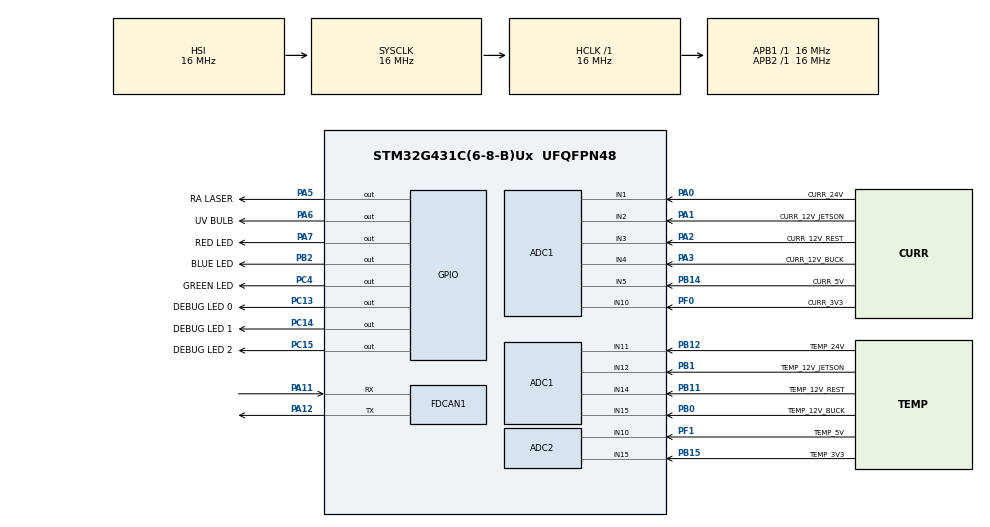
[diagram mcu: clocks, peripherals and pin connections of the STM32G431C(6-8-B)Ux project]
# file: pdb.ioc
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ADC1.Channel-0\#ChannelRegularConversion=ADC_CHANNEL_1
ADC1.Channel-1\#ChannelRegularConversion=ADC_CHANNEL_2
ADC1.Channel-2\#ChannelRegularConversion=ADC_CHANNEL_3
ADC1.Channel-3\#ChannelRegularConversion=ADC_CHANNEL_4
ADC1.Channel-4\#ChannelRegularConversion=ADC_CHANNEL_5
ADC1.Channel-5\#ChannelRegularConversion=ADC_CHANNEL_10
ADC1.Channel-6\#ChannelRegularConversion=ADC_CHANNEL_11
ADC1.Channel-7\#ChannelRegularConversion=ADC_CHANNEL_12
ADC1.Channel-8\#ChannelRegularConversion=ADC_CHANNEL_14
ADC1.Channel-9\#ChannelRegularConversion=ADC_CHANNEL_15
ADC1.NbrOfConversion=10
ADC1.NbrOfConversionFlag=1
ADC1.OffsetNumber-0\#ChannelRegularConversion=ADC_OFFSET_NONE
ADC1.OffsetNumber-1\#ChannelRegularConversion=ADC_OFFSET_NONE
ADC1.OffsetNumber-2\#ChannelRegularConversion=ADC_OFFSET_NONE
ADC1.OffsetNumber-3\#ChannelRegularConversion=ADC_OFFSET_NONE
ADC1.OffsetNumber-4\#ChannelRegularConversion=ADC_OFFSET_NONE
ADC1.OffsetNumber-5\#ChannelRegularConversion=ADC_OFFSET_NONE
ADC1.OffsetNumber-6\#ChannelRegularConversion=ADC_OFFSET_NONE
ADC1.OffsetNumber-7\#ChannelRegularConversion=ADC_OFFSET_NONE
ADC1.OffsetNumber-8\#ChannelRegularConversion=ADC_OFFSET_NONE
ADC1.OffsetNumber-9\#ChannelRegularConversion=ADC_OFFSET_NONE
ADC1.Rank-0\#ChannelRegularConversion=1
ADC1.Rank-1\#ChannelRegularConversion=2
ADC1.Rank-2\#ChannelRegularConversion=3
ADC1.Rank-3\#ChannelRegularConversion=4
ADC1.Rank-4\#ChannelRegularConversion=5
ADC1.Rank-5\#ChannelRegularConversion=6
ADC1.Rank-6\#ChannelRegularConversion=7
ADC1.Rank-7\#ChannelRegularConversion=8
ADC1.Rank-8\#ChannelRegularConversion=9
ADC1.Rank-9\#ChannelRegularConversion=10
ADC1.SamplingTime-0\#ChannelRegularConversion=ADC_SAMPLETIME_2CYCLES_5
ADC1.SamplingTime-1\#ChannelRegularConversion=ADC_SAMPLETIME_2CYCLES_5
ADC1.SamplingTime-2\#ChannelRegularConversion=ADC_SAMPLETIME_2CYCLES_5
ADC1.SamplingTime-3\#ChannelRegularConversion=ADC_SAMPLETIME_2CYCLES_5
ADC1.SamplingTime-4\#ChannelRegularConversion=ADC_SAMPLETIME_2CYCLES_5
ADC1.SamplingTime-5\#ChannelRegularConversion=ADC_SAMPLETIME_2CYCLES_5
ADC1.SamplingTime-6\#ChannelRegularConversion=ADC_SAMPLETIME_2CYCLES_5
ADC1.SamplingTime-7\#ChannelRegularConversion=ADC_SAMPLETIME_2CYCLES_5
ADC1.SamplingTime-8\#ChannelRegularConversion=ADC_SAMPLETIME_2CYCLES_5
ADC1.SamplingTime-9\#ChannelRegularConversion=ADC_SAMPLETIME_2CYCLES_5
ADC1.master=1
ADC2.Channel-0\#ChannelRegularConversion=ADC_CHANNEL_10
ADC2.NbrOfConversionFlag=1
ADC2.OffsetNumber-0\#ChannelRegularConversion=ADC_OFFSET_NONE
ADC2.Rank-0\#ChannelRegularConversion=1
ADC2.SamplingTime-0\#ChannelRegularConversion=ADC_SAMPLETIME_2CYCLES_5
FDCAN1.CalculateBaudRateNominal=500000
FDCAN1.CalculateTimeBitNominal=2000
FDCAN1.CalculateTimeQuantumNominal=62.5
FDCAN1.DataSyncJumpWidth=7
FDCAN1.DataTimeSeg1=8
FDCAN1.DataTimeSeg2=7
FDCAN1.FrameFormat=FDCAN_FRAME_FD_BRS
FDCAN1.NominalPrescaler=1
FDCAN1.NominalSyncJumpWidth=16
FDCAN1.NominalTimeSeg1=26
FDCAN1.NominalTimeSeg2=5
FDCAN1.TransmitPause=ENABLE
FREERTOS.Tasks01=defaultTask,24,128,StartDefaultTask,Default,NULL,Dynamic,NULL,NULL
Mcu.Family=STM32G4
Mcu.Name=STM32G431C(6-8-B)Ux
Mcu.Package=UFQFPN48
NVIC.FDCAN1_IT0_IRQn=true\:5\:0\:false\:false\:true\:true\:true\:true\:true
NVIC.FDCAN1_IT1_IRQn=true\:5\:0\:false\:false\:true\:true\:true\:true\:true
NVIC.PriorityGroup=NVIC_PRIORITYGROUP_4
PA0.GPIO_Label=CURR_24V
PA0.Mode=IN1-Single-Ended
PA0.Signal=ADC1_IN1
PA1.GPIO_Label=CURR_12V_JETSON
PA1.Mode=IN2-Single-Ended
PA1.Signal=ADC1_IN2
PA11.Mode=FDCAN_Activate
PA11.Signal=FDCAN1_RX
PA12.Mode=FDCAN_Activate
PA12.Signal=FDCAN1_TX
PA13.Mode=Serial_Wire
PA13.Signal=SYS_JTMS-SWDIO
PA14.Mode=Serial_Wire
PA14.Signal=SYS_JTCK-SWCLK
PA2.GPIO_Label=CURR_12V_REST
PA2.Mode=IN3-Single-Ended
PA2.Signal=ADC1_IN3
PA3.GPIO_Label=CURR_12V_BUCK
PA3.Mode=IN4-Single-Ended
PA3.Signal=ADC1_IN4
PA5.GPIO_Label=RA LASER
PA5.Signal=GPIO_Output
PA6.GPIO_Label=UV BULB
PA6.Signal=GPIO_Output
PA7.GPIO_Label=RED LED
PA7.Signal=GPIO_Output
PB0.GPIO_Label=TEMP_12V_BUCK
PB0.Mode=IN15-Single-Ended
PB0.Signal=ADC1_IN15
PB1.GPIO_Label=TEMP_12V_JETSON
PB1.Mode=IN12-Single-Ended
PB1.Signal=ADC1_IN12
PB11.GPIO_Label=TEMP_12V_REST
PB11.Mode=IN14-Single-Ended
PB11.Signal=ADC1_IN14
PB12.GPIO_Label=TEMP_24V
PB12.Mode=IN11-Single-Ended
PB12.Signal=ADC1_IN11
PB14.GPIO_Label=CURR_5V
PB14.Mode=IN5-Single-Ended
PB14.Signal=ADC1_IN5
PB15.GPIO_Label=TEMP_3V3
PB15.Mode=IN15-Single-Ended
PB15.Signal=ADC2_IN15
PB2.GPIO_Label=BLUE LED
PB2.Signal=GPIO_Output
PC13.GPIO_Label=DEBUG LED 0
PC13.Signal=GPIO_Output
PC14-OSC32_IN.GPIO_Label=DEBUG LED 1
PC14-OSC32_IN.Signal=GPIO_Output
PC15-OSC32_OUT.GPIO_Label=DEBUG LED 2
PC15-OSC32_OUT.Signal=GPIO_Output
PC4.GPIO_Label=GREEN LED
PC4.Signal=GPIO_Output
PF0-OSC_IN.GPIO_Label=CURR_3V3
PF0-OSC_IN.Mode=IN10-Single-Ended
PF0-OSC_IN.Signal=ADC1_IN10
PF1-OSC_OUT.GPIO_Label=TEMP_5V
PF1-OSC_OUT.Mode=IN10-Single-Ended
PF1-OSC_OUT.Signal=ADC2_IN10
ProjectManager.HeapSize=0x200
ProjectManager.StackSize=0x400
ProjectManager.TargetToolchain=STM32CubeIDE
RCC.AHBFreq_Value=16000000
RCC.APB1Freq_Value=16000000
RCC.APB1TimFreq_Value=16000000
RCC.APB2Freq_Value=16000000
RCC.APB2TimFreq_Value=16000000
RCC.CortexFreq_Value=16000000
RCC.EXTERNAL_CLOCK_VALUE=12288000
RCC.HCLKFreq_Value=16000000
RCC.HSE_VALUE=8000000
RCC.HSI48_VALUE=48000000
RCC.HSI_VALUE=16000000
RCC.LSE_VALUE=32768
RCC.SYSCLKFreq_VALUE=16000000
RCC.USBFreq_Value=64000000
RCC.VCOOutputFreq_Value=128000000
VP_FREERTOS_VS_CMSIS_V2.Mode=CMSIS_V2
board=custom

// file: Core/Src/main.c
/* USER CODE BEGIN Header */
/**
  ******************************************************************************
  * @file           : main.c
  * @brief          : Main program body
  ******************************************************************************
  * @attention
  *
  * Copyright (c) 2023 STMicroelectronics.
  * All rights reserved.
  *
  * This software is licensed under terms that can be found in the LICENSE file
  * in the root directory of this software component.
  * If no LICENSE file comes with this software, it is provided AS-IS.
  *
  ******************************************************************************
  */
/* USER CODE END Header */
#include "main.h"
#include "cmsis_os.h"

/* USER CODE BEGIN PD */

#define NUM_CHANNELS 12
#define NUM_CURRENT_SENSORS 6
#define NUM_TEMP_SENSORS 6

#define PDB_CAN_ID 0x32

/* USER CODE END PD */

ADC_HandleTypeDef hadc1;
ADC_HandleTypeDef hadc2;

FDCAN_HandleTypeDef hfdcan1;

/* Definitions for defaultTask */
osThreadId_t defaultTaskHandle;
const osThreadAttr_t defaultTask_attributes = {
  .name = "defaultTask",
  .priority = (osPriority_t) osPriorityNormal,
  .stack_size = 128 * 4
};

void SystemClock_Config(void);
static void MX_GPIO_Init(void);
static void MX_ADC1_Init(void);
static void MX_FDCAN1_Init(void);
static void MX_ADC2_Init(void);
void StartDefaultTask(void *argument);

/* USER CODE BEGIN PFP */
void SendCurrentTemperature(void *argument);
void ReceiveMessages(void *argument);
void UpdateLEDState(void *argument);

/* USER CODE END PFP */

int main(void)
{

  /* MCU Configuration--------------------------------------------------------*/

  /* Reset of all peripherals, Initializes the Flash interface and the Systick. */
  HAL_Init();

  /* Configure the system clock */
  SystemClock_Config();

  /* Initialize all configured peripherals */
  MX_GPIO_Init();
  MX_ADC1_Init();
  MX_FDCAN1_Init();
  MX_ADC2_Init();
  /* USER CODE BEGIN 2 */

  // 10 channels: 5 for current, 5 for temperature
  // Channels 0-4: CURR 0-4
  // Channels 5-9: TEMP 0-4

  init();

  /* USER CODE END 2 */

  /* Init scheduler */
  osKernelInitialize();

  /* USER CODE BEGIN RTOS_MUTEX */
  can_tx_mutex = osMutexNew(NULL); // default attr. for now
  /* USER CODE END RTOS_MUTEX */

  /* Create the thread(s) */
  /* creation of defaultTask */
  defaultTaskHandle = osThreadNew(StartDefaultTask, NULL, &defaultTask_attributes);

  /* USER CODE BEGIN RTOS_THREADS */

  defaultTaskHandle = osThreadNew(ReceiveMessages, NULL, &defaultTask_attributes);
  defaultTaskHandle = osThreadNew(SendCurrentTemperature, NULL, &defaultTask_attributes);
  defaultTaskHandle = osThreadNew(UpdateLEDState, NULL, &defaultTask_attributes);
  /* add threads, ... */
  /* USER CODE END RTOS_THREADS */

  /* Start scheduler */
  osKernelStart();
  /* We should never get here as control is now taken by the scheduler */
  /* Infinite loop */
  while (1)
  {

  }
}

void SystemClock_Config(void)
{
  RCC_OscInitTypeDef RCC_OscInitStruct = {0};
  RCC_ClkInitTypeDef RCC_ClkInitStruct = {0};

  /** Configure the main internal regulator output voltage
  */
  HAL_PWREx_ControlVoltageScaling(PWR_REGULATOR_VOLTAGE_SCALE1);

  /** Initializes the RCC Oscillators according to the specified parameters
  * in the RCC_OscInitTypeDef structure.
  */
  RCC_OscInitStruct.OscillatorType = RCC_OSCILLATORTYPE_HSI;
  RCC_OscInitStruct.HSIState = RCC_HSI_ON;
  RCC_OscInitStruct.HSICalibrationValue = RCC_HSICALIBRATION_DEFAULT;
  RCC_OscInitStruct.PLL.PLLState = RCC_PLL_NONE;
  if (HAL_RCC_OscConfig(&RCC_OscInitStruct) != HAL_OK)
  {
    Error_Handler();
  }

  /** Initializes the CPU, AHB and APB buses clocks
  */
  RCC_ClkInitStruct.ClockType = RCC_CLOCKTYPE_HCLK|RCC_CLOCKTYPE_SYSCLK
                              |RCC_CLOCKTYPE_PCLK1|RCC_CLOCKTYPE_PCLK2;
  RCC_ClkInitStruct.SYSCLKSource = RCC_SYSCLKSOURCE_HSI;
  RCC_ClkInitStruct.AHBCLKDivider = RCC_SYSCLK_DIV1;
  RCC_ClkInitStruct.APB1CLKDivider = RCC_HCLK_DIV1;
  RCC_ClkInitStruct.APB2CLKDivider = RCC_HCLK_DIV1;

  if (HAL_RCC_ClockConfig(&RCC_ClkInitStruct, FLASH_LATENCY_0) != HAL_OK)
  {
    Error_Handler();
  }
}

static void MX_ADC1_Init(void)
{

  ADC_MultiModeTypeDef multimode = {0};
  ADC_ChannelConfTypeDef sConfig = {0};

  /** Common config
  */
  hadc1.Instance = ADC1;
  hadc1.Init.ClockPrescaler = ADC_CLOCK_SYNC_PCLK_DIV2;
  hadc1.Init.Resolution = ADC_RESOLUTION_12B;
  hadc1.Init.DataAlign = ADC_DATAALIGN_RIGHT;
  hadc1.Init.GainCompensation = 0;
  hadc1.Init.ScanConvMode = ADC_SCAN_ENABLE;
  hadc1.Init.EOCSelection = ADC_EOC_SINGLE_CONV;
  hadc1.Init.LowPowerAutoWait = DISABLE;
  hadc1.Init.ContinuousConvMode = DISABLE;
  hadc1.Init.NbrOfConversion = 10;
  hadc1.Init.DiscontinuousConvMode = DISABLE;
  hadc1.Init.ExternalTrigConv = ADC_SOFTWARE_START;
  hadc1.Init.ExternalTrigConvEdge = ADC_EXTERNALTRIGCONVEDGE_NONE;
  hadc1.Init.DMAContinuousRequests = DISABLE;
  hadc1.Init.Overrun = ADC_OVR_DATA_PRESERVED;
  hadc1.Init.OversamplingMode = DISABLE;
  if (HAL_ADC_Init(&hadc1) != HAL_OK)
  {
    Error_Handler();
  }

  /** Configure the ADC multi-mode
  */
  multimode.Mode = ADC_MODE_INDEPENDENT;
  if (HAL_ADCEx_MultiModeConfigChannel(&hadc1, &multimode) != HAL_OK)
  {
    Error_Handler();
  }

  /** Configure Regular Channel
  */
  sConfig.Channel = ADC_CHANNEL_1;
  sConfig.Rank = ADC_REGULAR_RANK_1;
  sConfig.SamplingTime = ADC_SAMPLETIME_2CYCLES_5;
  sConfig.SingleDiff = ADC_SINGLE_ENDED;
  sConfig.OffsetNumber = ADC_OFFSET_NONE;
  sConfig.Offset = 0;
  if (HAL_ADC_ConfigChannel(&hadc1, &sConfig) != HAL_OK)
  {
    Error_Handler();
  }

  /** Configure Regular Channel
  */
  sConfig.Channel = ADC_CHANNEL_2;
  sConfig.Rank = ADC_REGULAR_RANK_2;
  if (HAL_ADC_ConfigChannel(&hadc1, &sConfig) != HAL_OK)
  {
    Error_Handler();
  }

  /** Configure Regular Channel
  */
  sConfig.Channel = ADC_CHANNEL_3;
  sConfig.Rank = ADC_REGULAR_RANK_3;
  if (HAL_ADC_ConfigChannel(&hadc1, &sConfig) != HAL_OK)
  {
    Error_Handler();
  }

  /** Configure Regular Channel
  */
  sConfig.Channel = ADC_CHANNEL_4;
  sConfig.Rank = ADC_REGULAR_RANK_4;
  if (HAL_ADC_ConfigChannel(&hadc1, &sConfig) != HAL_OK)
  {
    Error_Handler();
  }

  /** Configure Regular Channel
  */
  sConfig.Channel = ADC_CHANNEL_5;
  sConfig.Rank = ADC_REGULAR_RANK_5;
  if (HAL_ADC_ConfigChannel(&hadc1, &sConfig) != HAL_OK)
  {
    Error_Handler();
  }

  /** Configure Regular Channel
  */
  sConfig.Channel = ADC_CHANNEL_10;
  sConfig.Rank = ADC_REGULAR_RANK_6;
  if (HAL_ADC_ConfigChannel(&hadc1, &sConfig) != HAL_OK)
  {
    Error_Handler();
  }

  /** Configure Regular Channel
  */
  sConfig.Channel = ADC_CHANNEL_11;
  sConfig.Rank = ADC_REGULAR_RANK_7;
  if (HAL_ADC_ConfigChannel(&hadc1, &sConfig) != HAL_OK)
  {
    Error_Handler();
  }

  /** Configure Regular Channel
  */
  sConfig.Channel = ADC_CHANNEL_12;
  sConfig.Rank = ADC_REGULAR_RANK_8;
  if (HAL_ADC_ConfigChannel(&hadc1, &sConfig) != HAL_OK)
  {
    Error_Handler();
  }

  /** Configure Regular Channel
  */
  sConfig.Channel = ADC_CHANNEL_14;
  sConfig.Rank = ADC_REGULAR_RANK_9;
  if (HAL_ADC_ConfigChannel(&hadc1, &sConfig) != HAL_OK)
  {
    Error_Handler();
  }

  /** Configure Regular Channel
  */
  sConfig.Channel = ADC_CHANNEL_15;
  sConfig.Rank = ADC_REGULAR_RANK_10;
  if (HAL_ADC_ConfigChannel(&hadc1, &sConfig) != HAL_OK)
  {
    Error_Handler();
  }

}

static void MX_ADC2_Init(void)
{

  ADC_ChannelConfTypeDef sConfig = {0};

  /** Common config
  */
  hadc2.Instance = ADC2;
  hadc2.Init.ClockPrescaler = ADC_CLOCK_SYNC_PCLK_DIV2;
  hadc2.Init.Resolution = ADC_RESOLUTION_12B;
  hadc2.Init.DataAlign = ADC_DATAALIGN_RIGHT;
  hadc2.Init.GainCompensation = 0;
  hadc2.Init.ScanConvMode = ADC_SCAN_DISABLE;
  hadc2.Init.EOCSelection = ADC_EOC_SINGLE_CONV;
  hadc2.Init.LowPowerAutoWait = DISABLE;
  hadc2.Init.ContinuousConvMode = DISABLE;
  hadc2.Init.NbrOfConversion = 1;
  hadc2.Init.DiscontinuousConvMode = DISABLE;
  hadc2.Init.ExternalTrigConv = ADC_SOFTWARE_START;
  hadc2.Init.ExternalTrigConvEdge = ADC_EXTERNALTRIGCONVEDGE_NONE;
  hadc2.Init.DMAContinuousRequests = DISABLE;
  hadc2.Init.Overrun = ADC_OVR_DATA_PRESERVED;
  hadc2.Init.OversamplingMode = DISABLE;
  if (HAL_ADC_Init(&hadc2) != HAL_OK)
  {
    Error_Handler();
  }

  /** Configure Regular Channel
  */
  sConfig.Channel = ADC_CHANNEL_10;
  sConfig.Rank = ADC_REGULAR_RANK_1;
  sConfig.SamplingTime = ADC_SAMPLETIME_2CYCLES_5;
  sConfig.SingleDiff = ADC_SINGLE_ENDED;
  sConfig.OffsetNumber = ADC_OFFSET_NONE;
  sConfig.Offset = 0;
  if (HAL_ADC_ConfigChannel(&hadc2, &sConfig) != HAL_OK)
  {
    Error_Handler();
  }

}

static void MX_FDCAN1_Init(void)
{

  hfdcan1.Instance = FDCAN1;
  hfdcan1.Init.ClockDivider = FDCAN_CLOCK_DIV1;
  hfdcan1.Init.FrameFormat = FDCAN_FRAME_FD_BRS;
  hfdcan1.Init.Mode = FDCAN_MODE_NORMAL;
  hfdcan1.Init.AutoRetransmission = DISABLE;
  hfdcan1.Init.TransmitPause = ENABLE;
  hfdcan1.Init.ProtocolException = DISABLE;
  hfdcan1.Init.NominalPrescaler = 1;
  hfdcan1.Init.NominalSyncJumpWidth = 16;
  hfdcan1.Init.NominalTimeSeg1 = 26;
  hfdcan1.Init.NominalTimeSeg2 = 5;
  hfdcan1.Init.DataPrescaler = 1;
  hfdcan1.Init.DataSyncJumpWidth = 7;
  hfdcan1.Init.DataTimeSeg1 = 8;
  hfdcan1.Init.DataTimeSeg2 = 7;
  hfdcan1.Init.StdFiltersNbr = 0;
  hfdcan1.Init.ExtFiltersNbr = 0;
  hfdcan1.Init.TxFifoQueueMode = FDCAN_TX_FIFO_OPERATION;
  if (HAL_FDCAN_Init(&hfdcan1) != HAL_OK)
  {
    Error_Handler();
  }

}

static void MX_GPIO_Init(void)
{
  GPIO_InitTypeDef GPIO_InitStruct = {0};

  /* GPIO Ports Clock Enable */
  __HAL_RCC_GPIOC_CLK_ENABLE();
  __HAL_RCC_GPIOF_CLK_ENABLE();
  __HAL_RCC_GPIOA_CLK_ENABLE();
  __HAL_RCC_GPIOB_CLK_ENABLE();

  /*Configure GPIO pin Output Level */
  HAL_GPIO_WritePin(GPIOC, DEBUG_LED_0_Pin|DEBUG_LED_1_Pin|DEBUG_LED_2_Pin|GREEN_LED_Pin, GPIO_PIN_RESET);

  /*Configure GPIO pin Output Level */
  HAL_GPIO_WritePin(GPIOA, RA_LASER_Pin|UV_BULB_Pin|RED_LED_Pin, GPIO_PIN_RESET);

  /*Configure GPIO pin Output Level */
  HAL_GPIO_WritePin(BLUE_LED_GPIO_Port, BLUE_LED_Pin, GPIO_PIN_RESET);

  /*Configure GPIO pins : DEBUG_LED_0_Pin DEBUG_LED_1_Pin DEBUG_LED_2_Pin GREEN_LED_Pin */
  GPIO_InitStruct.Pin = DEBUG_LED_0_Pin|DEBUG_LED_1_Pin|DEBUG_LED_2_Pin|GREEN_LED_Pin;
  GPIO_InitStruct.Mode = GPIO_MODE_OUTPUT_PP;
  GPIO_InitStruct.Pull = GPIO_NOPULL;
  GPIO_InitStruct.Speed = GPIO_SPEED_FREQ_LOW;
  HAL_GPIO_Init(GPIOC, &GPIO_InitStruct);

  /*Configure GPIO pins : RA_LASER_Pin UV_BULB_Pin RED_LED_Pin */
  GPIO_InitStruct.Pin = RA_LASER_Pin|UV_BULB_Pin|RED_LED_Pin;
  GPIO_InitStruct.Mode = GPIO_MODE_OUTPUT_PP;
  GPIO_InitStruct.Pull = GPIO_NOPULL;
  GPIO_InitStruct.Speed = GPIO_SPEED_FREQ_LOW;
  HAL_GPIO_Init(GPIOA, &GPIO_InitStruct);

  /*Configure GPIO pin : BLUE_LED_Pin */
  GPIO_InitStruct.Pin = BLUE_LED_Pin;
  GPIO_InitStruct.Mode = GPIO_MODE_OUTPUT_PP;
  GPIO_InitStruct.Pull = GPIO_NOPULL;
  GPIO_InitStruct.Speed = GPIO_SPEED_FREQ_LOW;
  HAL_GPIO_Init(BLUE_LED_GPIO_Port, &GPIO_InitStruct);

}

/* USER CODE BEGIN 4 */
// TODO: remove
void fakeCANSend(float* msg) {
	return;
}

void ReceiveMessages(void* argument) {
	// TODO
	uint32_t tick = osKernelGetTickCount();
	for(;;) {
		tick += osKernelGetTickFreq(); // 1 Hz
		update_led();
		osDelayUntil(tick);
	}
}

void SendCurrentTemperature(void* argument) {
	uint32_t tick = osKernelGetTickCount();

	for(;;) {
		tick += osKernelGetTickFreq(); // 1 Hz

		update_and_send_current_temp();
		osDelayUntil(tick);
	}
}

void UpdateLEDState(void* argument) {
	// TODO
	uint32_t tick = osKernelGetTickCount();
	for(;;) {
		tick += osKernelGetTickFreq(); // 1 Hz
		update_led();
		osDelayUntil(tick);
	}
}

/* USER CODE END 4 */

void StartDefaultTask(void *argument)
{
  for(;;)
  {
    osDelay(1);
  }
}

void Error_Handler(void)
{
  __disable_irq();
  while (1)
  {
  }
}
